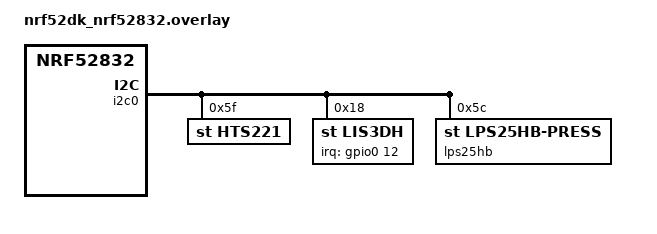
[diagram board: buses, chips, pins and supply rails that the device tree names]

&i2c0 {
	compatible = "nordic,nrf-twi";
	status = "okay";
	hts221@5f {
		compatible = "st,hts221";
		reg = <0x5f>;
	};
	lis3dh@18 {
		compatible = "st,lis3dh", "st,lis2dh";
		reg = <0x18>;
		irq-gpios = <&gpio0 12 GPIO_ACTIVE_HIGH>;
	};
	lps25hb@5c {
		compatible = "st,lps25hb-press";
		reg = <0x5c>;
	};
};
